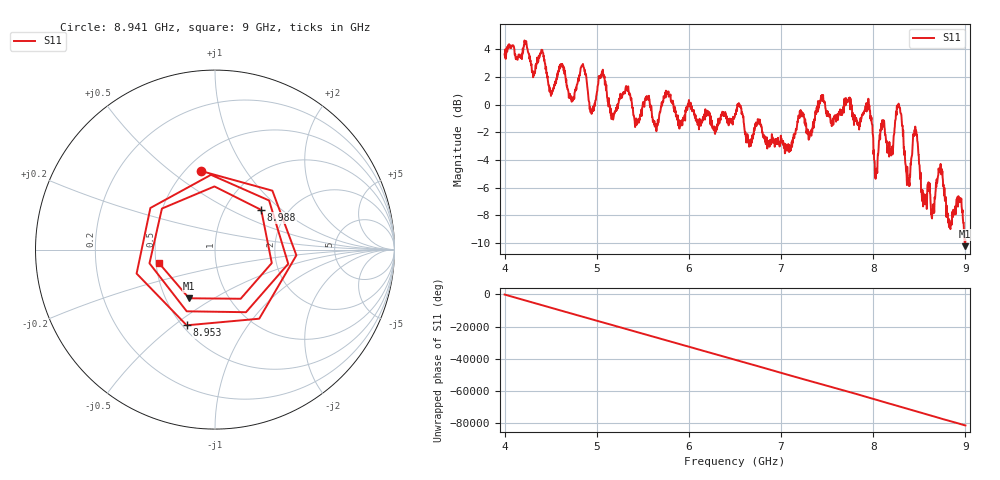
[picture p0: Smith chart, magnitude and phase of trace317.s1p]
! Created with skrf 1.8.0 (http://scikit-rf.org).
# Hz S RI R 50.0
!freq ReS11 ImS11
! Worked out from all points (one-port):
!   1601 points, 4 GHz to 9 GHz, reference 50 ohm
!   lowest |S11| = -10.2 dB at 8.997 GHz (marker M1), VSWR 1.89, Z = 32.7 - j19.6 ohm
!   |S11| at or under -10 dB: 8.992629 GHz to 8.998877 GHz (6.248 MHz wide, 0.0695 % of centre)
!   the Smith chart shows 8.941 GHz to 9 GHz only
!   S11 on the Smith chart (normalised r, x): 8.941 GHz: 0.60, +0.65; 8.953 GHz: 0.53, -0.56; 8.988 GHz: 1.47, +0.74; 9 GHz: 0.52, -0.09
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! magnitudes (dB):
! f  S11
! 4 GHz  3.6
! 4.406 GHz  4.0
! 4.509 GHz  0.7
! 4.625 GHz  3.0
! 4.731 GHz  0.5
! 4.853 GHz  2.9
! 4.947 GHz  -0.6
! 5.047 GHz  2.2
! 5.172 GHz  -0.6
! 5.25 GHz  0.4
! 5.875 GHz  -1.1
! 6.5 GHz  -0.7
! 7.125 GHz  -2.5
! 7.75 GHz  -0.3
! 7.956 GHz  -0.1
! 8.028 GHz  -5.1
! 8.281 GHz  -0.2
! 8.375 GHz  -5.7
! 8.456 GHz  -1.6
! 8.544 GHz  -6.6
! 8.647 GHz  -7.7
! 8.728 GHz  -4.4
! 8.828 GHz  -8.7
! 8.941 GHz  -7.1
! 8.953 GHz  -6.9
! 8.988 GHz  -9.4
! 8.997 GHz  -10.2
! 9 GHz  -9.9
